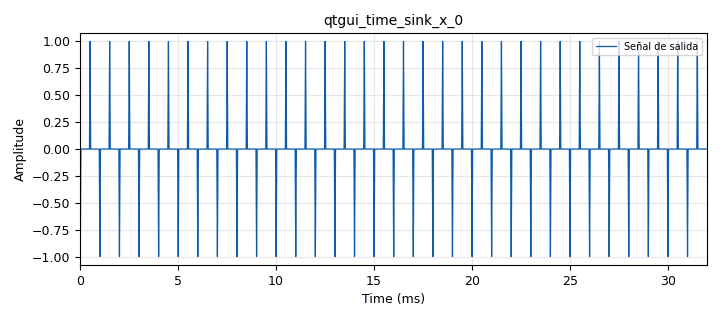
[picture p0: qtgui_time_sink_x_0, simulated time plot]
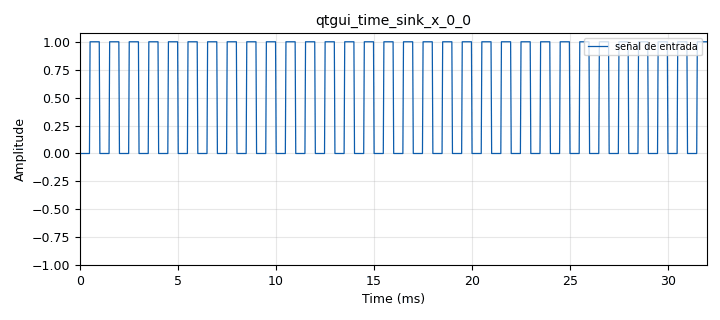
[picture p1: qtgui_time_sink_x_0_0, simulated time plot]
options:
  parameters:
    author: Carlos
    generate_options: qt_gui
    id: bloquediferencoiador
    output_language: python
    title: Not titled yet
  states: {}

blocks:
- name: samp_rate
  id: variable
  parameters:
    value: '32000'
  states: {}
- name: analog_sig_source_x_0
  id: analog_sig_source_x
  parameters:
    amp: '1'
    freq: '1000'
    offset: '0'
    phase: '0'
    samp_rate: samp_rate
    type: float
    waveform: analog.GR_SQR_WAVE
  states: {}
- name: blocks_throttle2_0
  id: blocks_throttle2
  parameters:
    samples_per_second: samp_rate
    type: float
  states: {}
- name: epy_block_1
  id: epy_block
  parameters:
    _source_code: |-
      import numpy as np
      from gnuradio import gr

      class blk(gr.sync_block):
          def __init__(self):
              # Inicializamos el bloque, señal de entrada y salida de tipo float32
              gr.sync_block.__init__(self, name='e_Diff', in_sig=[np.float32], out_sig=[np.float32])
          
          def work(self, input_items, output_items):
              x = input_items[0]  # Señal de entrada
              y0 = output_items[0]  # Señal de salida (diferencia)
              
              # Calculamos la diferencia entre muestras consecutivas
              y0[1:] = np.diff(x)  # La diferencia entre cada par de muestras consecutivas
              y0[0] = 0  # Asignamos 0 al primer valor, ya que no tiene diferencia anterior
              
              return len(output_items[0])  # Debemos devolver el tamaño de la salida
  states: {}
- name: qtgui_time_sink_x_0
  id: qtgui_time_sink_x
  parameters:
    label1: 'Señal de salida '
    size: '1024'
    srate: samp_rate
    type: float
  states: {}
- name: qtgui_time_sink_x_0_0
  id: qtgui_time_sink_x
  parameters:
    label1: 'señal de entrada '
    size: '1024'
    srate: samp_rate
    type: float
  states: {}

connections:
- [analog_sig_source_x_0, '0', epy_block_1, '0']
- [analog_sig_source_x_0, '0', qtgui_time_sink_x_0_0, '0']
- [blocks_throttle2_0, '0', qtgui_time_sink_x_0, '0']
- [epy_block_1, '0', blocks_throttle2_0, '0']

metadata:
  file_format: 1
  grc_version: 3.10.10.0
